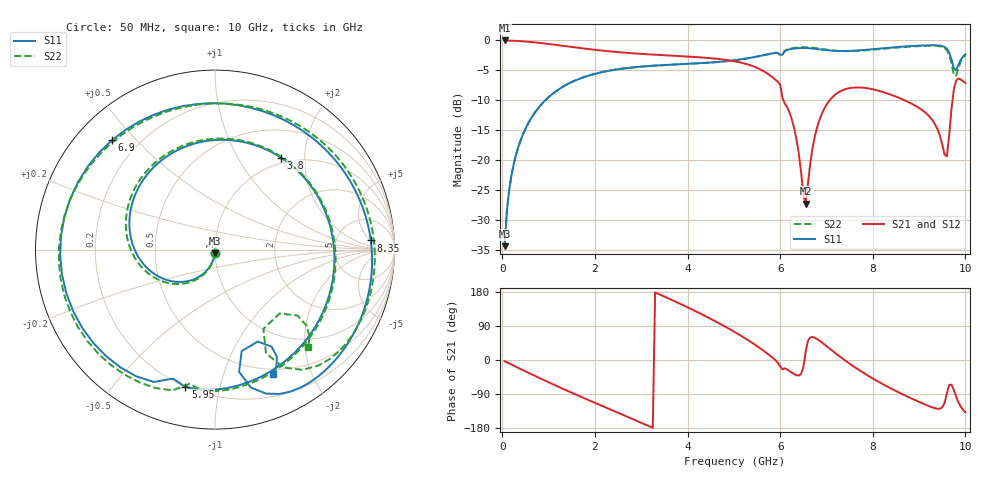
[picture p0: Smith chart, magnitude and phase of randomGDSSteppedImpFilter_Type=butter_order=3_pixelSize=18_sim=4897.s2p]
! freq	dB(S11)	phase(S11)	dB(S12)	phase(S12)
!  dB(S21)	phase(S21)	dB(S22)	phase(S22)
!S-par simulation data
#  GHz  S  DB  R 50
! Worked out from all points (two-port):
!   200 points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, 50 MHz to 10 GHz, reference 50 ohm
!   highest |S21| = -0.01 dB at 50 MHz (marker M1); lowest = -27.3 dB at 6.55 GHz (marker M2)
!   |S21| within 3 dB of the highest: start of sweep to 4.544 GHz
!   lowest |S11| = -34.4 dB at 50 MHz (marker M3), VSWR 1.04, Z = 49.9 - j1.89 ohm
!   |S11| at or under -10 dB: start of sweep to 931.9 MHz
!   |S22| runs from -34.4 to -0.9 dB; largest |S21 - S12| = 0
!   S11 on the Smith chart (normalised r, x): 50 MHz: 1.00, -0.04; 3.8 GHz: 0.91, +1.55; 5.95 GHz: 0.20, -0.79; 6.9 GHz: 0.10, +0.43; 8.35 GHz: 12, +5; 10 GHz: 0.44, -1.48
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0.05  -34.43 -93.0  -0.01 -3.1  -0.01 -3.1  -34.44 -92.8
0.2  -22.49 -102.8  -0.04 -12.1  -0.04 -12.1  -22.49 -102.0
0.5  -14.81 -121.5  -0.19 -30.0  -0.19 -30.0  -14.81 -119.5
1.1  -8.85 -157.4  -0.69 -64.5  -0.69 -64.5  -8.85 -152.8
1.75  -6.18 165.9  -1.34 -99.8  -1.34 -99.8  -6.18 173.2
2.6  -4.71 119.9  -2.02 -144.3  -2.02 -144.3  -4.71 130.2
3.4  -4.17 76.5  -2.44 173.0  -2.44 173.0  -4.17 88.5
3.8  -4.00 54.3  -2.61 150.6  -2.61 150.6  -4.01 66.3
4.5  -3.70 13.4  -2.97 108.6  -2.97 108.6  -3.72 23.7
5.05  -3.28 -22.3  -3.54 71.6  -3.54 71.6  -3.30 -14.6
5.5  -2.70 -56.8  -4.58 36.8  -4.58 36.8  -2.71 -50.9
5.95  -2.13 -102.2  -6.91 -7.2  -6.91 -7.2  -2.08 -95.5
6.3  -1.37 -142.6  -14.61 -37.2  -14.61 -37.2  -1.25 -132.0
6.55  -1.28 -178.0  -27.30 20.7  -27.30 20.7  -1.14 -162.9
6.7  -1.36 160.6  -17.98 60.6  -17.98 60.6  -1.22 178.8
6.9  -1.54 133.3  -12.28 46.3  -12.28 46.3  -1.43 155.6
7.55  -1.74 62.0  -7.92 -14.0  -7.92 -14.0  -1.79 91.8
8.35  -1.22 3.4  -8.96 -72.5  -8.96 -72.5  -1.31 30.9
9.05  -0.86 -35.2  -11.57 -113.3  -11.57 -113.3  -0.93 -12.9
9.6  -1.39 -70.4  -19.38 -87.9  -19.38 -87.9  -1.64 -54.0
9.75  -4.66 -75.3  -8.24 -78.8  -8.24 -78.8  -5.73 -58.6
10  -2.34 -64.9  -7.12 -138.1  -7.12 -138.1  -2.47 -46.4
